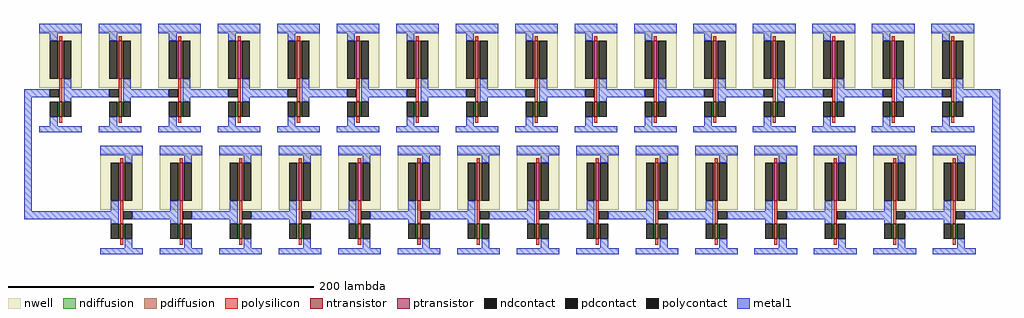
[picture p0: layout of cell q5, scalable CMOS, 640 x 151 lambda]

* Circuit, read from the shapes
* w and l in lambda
.subckt q5 gnd vdd
M1 inverter5_0_1/input inverter5_0_0/input gnd VSUBS nfet w=10 l=2
M2 inverter5_0_2/input inverter5_0_1/input gnd VSUBS nfet w=10 l=2
M3 gnd inverter5_1_0/input inverter5_0_0/input VSUBS nfet w=10 l=2
M4 inverter5_0_3/input inverter5_0_2/input gnd VSUBS nfet w=10 l=2
M5 gnd inverter5_1_1/input inverter5_1_0/input VSUBS nfet w=10 l=2
M6 inverter5_0_4/input inverter5_0_3/input gnd VSUBS nfet w=10 l=2
M7 gnd inverter5_1_2/input inverter5_1_1/input VSUBS nfet w=10 l=2
M8 inverter5_0_5/input inverter5_0_4/input gnd VSUBS nfet w=10 l=2
M9 gnd inverter5_1_3/input inverter5_1_2/input VSUBS nfet w=10 l=2
M10 inverter5_0_6/input inverter5_0_5/input gnd VSUBS nfet w=10 l=2
M11 gnd inverter5_1_4/input inverter5_1_3/input VSUBS nfet w=10 l=2
M12 inverter5_0_7/input inverter5_0_6/input gnd VSUBS nfet w=10 l=2
M13 gnd inverter5_1_5/input inverter5_1_4/input VSUBS nfet w=10 l=2
M14 inverter5_0_8/input inverter5_0_7/input gnd VSUBS nfet w=10 l=2
M15 gnd inverter5_1_6/input inverter5_1_5/input VSUBS nfet w=10 l=2
M16 inverter5_0_9/input inverter5_0_8/input gnd VSUBS nfet w=10 l=2
M17 gnd inverter5_1_7/input inverter5_1_6/input VSUBS nfet w=10 l=2
M18 inverter5_0_10/input inverter5_0_9/input gnd VSUBS nfet w=10 l=2
M19 gnd inverter5_1_8/input inverter5_1_7/input VSUBS nfet w=10 l=2
M20 inverter5_0_11/input inverter5_0_10/input gnd VSUBS nfet w=10 l=2
M21 gnd inverter5_1_9/input inverter5_1_8/input VSUBS nfet w=10 l=2
M22 inverter5_0_12/input inverter5_0_11/input gnd VSUBS nfet w=10 l=2
M23 gnd inverter5_1_10/input inverter5_1_9/input VSUBS nfet w=10 l=2
M24 inverter5_0_13/input inverter5_0_12/input gnd VSUBS nfet w=10 l=2
M25 gnd inverter5_1_11/input inverter5_1_10/input VSUBS nfet w=10 l=2
M26 inverter5_0_14/input inverter5_0_13/input gnd VSUBS nfet w=10 l=2
M27 gnd inverter5_1_12/input inverter5_1_11/input VSUBS nfet w=10 l=2
M28 inverter5_0_15/input inverter5_0_14/input gnd VSUBS nfet w=10 l=2
M29 gnd inverter5_1_13/input inverter5_1_12/input VSUBS nfet w=10 l=2
M30 inverter5_1_14/input inverter5_0_15/input gnd VSUBS nfet w=10 l=2
M31 gnd inverter5_1_14/input inverter5_1_13/input VSUBS nfet w=10 l=2
M32 inverter5_0_1/input inverter5_0_0/input vdd n1 pfet w=25 l=2
M33 inverter5_0_2/input inverter5_0_1/input vdd n2 pfet w=25 l=2
M34 vdd inverter5_1_0/input inverter5_0_0/input n3 pfet w=25 l=2
M35 inverter5_0_3/input inverter5_0_2/input vdd n4 pfet w=25 l=2
M36 vdd inverter5_1_1/input inverter5_1_0/input n5 pfet w=25 l=2
M37 inverter5_0_4/input inverter5_0_3/input vdd n6 pfet w=25 l=2
M38 vdd inverter5_1_2/input inverter5_1_1/input n7 pfet w=25 l=2
M39 inverter5_0_5/input inverter5_0_4/input vdd n8 pfet w=25 l=2
M40 vdd inverter5_1_3/input inverter5_1_2/input n9 pfet w=25 l=2
M41 inverter5_0_6/input inverter5_0_5/input vdd n10 pfet w=25 l=2
M42 vdd inverter5_1_4/input inverter5_1_3/input n11 pfet w=25 l=2
M43 inverter5_0_7/input inverter5_0_6/input vdd n12 pfet w=25 l=2
M44 vdd inverter5_1_5/input inverter5_1_4/input n13 pfet w=25 l=2
M45 inverter5_0_8/input inverter5_0_7/input vdd n14 pfet w=25 l=2
M46 vdd inverter5_1_6/input inverter5_1_5/input n15 pfet w=25 l=2
M47 inverter5_0_9/input inverter5_0_8/input vdd n16 pfet w=25 l=2
M48 vdd inverter5_1_7/input inverter5_1_6/input n17 pfet w=25 l=2
M49 inverter5_0_10/input inverter5_0_9/input vdd n18 pfet w=25 l=2
M50 vdd inverter5_1_8/input inverter5_1_7/input n19 pfet w=25 l=2
M51 inverter5_0_11/input inverter5_0_10/input vdd n20 pfet w=25 l=2
M52 vdd inverter5_1_9/input inverter5_1_8/input n21 pfet w=25 l=2
M53 inverter5_0_12/input inverter5_0_11/input vdd n22 pfet w=25 l=2
M54 vdd inverter5_1_10/input inverter5_1_9/input n23 pfet w=25 l=2
M55 inverter5_0_13/input inverter5_0_12/input vdd n24 pfet w=25 l=2
M56 vdd inverter5_1_11/input inverter5_1_10/input n25 pfet w=25 l=2
M57 inverter5_0_14/input inverter5_0_13/input vdd n26 pfet w=25 l=2
M58 vdd inverter5_1_12/input inverter5_1_11/input n27 pfet w=25 l=2
M59 inverter5_0_15/input inverter5_0_14/input vdd n28 pfet w=25 l=2
M60 vdd inverter5_1_13/input inverter5_1_12/input n29 pfet w=25 l=2
M61 inverter5_1_14/input inverter5_0_15/input vdd n30 pfet w=25 l=2
M62 vdd inverter5_1_14/input inverter5_1_13/input n31 pfet w=25 l=2
.ends

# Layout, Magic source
magic
tech scmos
<< metal1 >>
rect -17 -55 -12 25
rect 612 20 623 25
rect 618 -55 623 20
rect -17 -60 27 -55
rect 612 -60 623 -55
use inverter5  inverter5_0
array 0 15 39 0 0 71
transform 1 0 6 0 1 33
box -18 -36 21 35
use inverter5  inverter5_1
array 0 14 -39 0 0 71
transform -1 0 48 0 1 -47
box -18 -36 21 35
<< end >>

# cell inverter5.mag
magic
tech scmos
<< nwell >>
rect -13 -7 15 30
<< ntransistor >>
rect 0 -26 2 -16
<< ptransistor >>
rect 0 -1 2 24
<< ndiffusion >>
rect -1 -26 0 -16
rect 2 -26 3 -16
<< pdiffusion >>
rect -1 -1 0 24
rect 2 -1 3 24
<< ndcontact >>
rect -6 -26 -1 -16
rect 3 -26 8 -16
<< pdcontact >>
rect -6 -1 -1 24
rect 3 -1 8 24
<< polysilicon >>
rect 0 24 2 27
rect 0 -16 2 -1
rect 0 -30 2 -26
<< polycontact >>
rect -6 -13 0 -8
<< metal1 >>
rect -13 29 15 35
rect -6 24 -1 29
rect 3 -8 8 -1
rect -18 -13 -6 -8
rect 3 -13 21 -8
rect 3 -16 8 -13
rect -6 -32 -1 -26
rect -13 -36 15 -32
<< labels >>
rlabel metal1 -13 29 15 35 5 vdd
rlabel metal1 -13 -36 15 -32 1 gnd
rlabel metal1 -18 -13 0 -8 1 input
rlabel metal1 3 -13 21 -8 1 output
<< end >>
